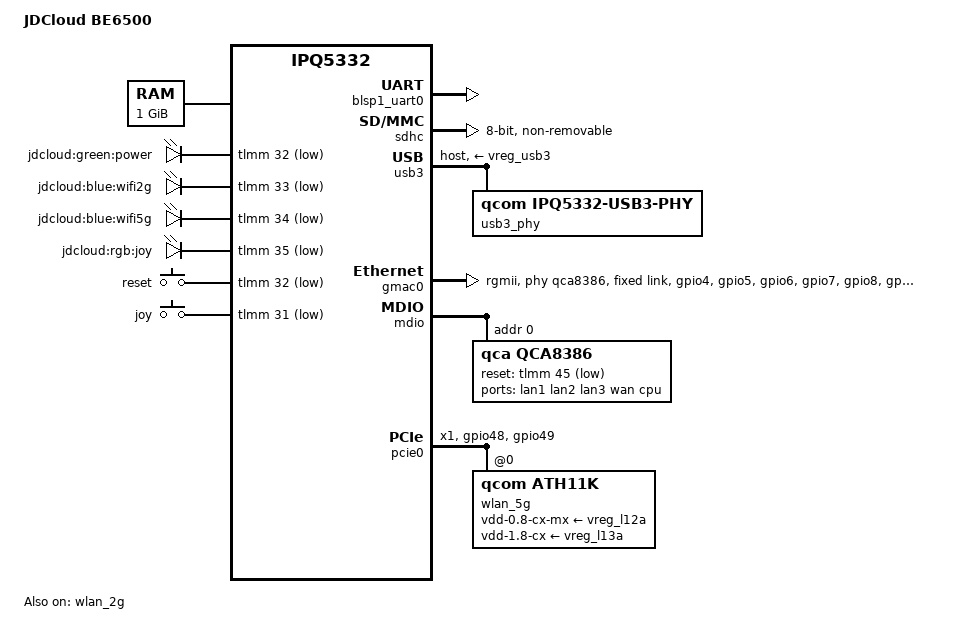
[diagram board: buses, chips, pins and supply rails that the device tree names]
// SPDX-License-Identifier: GPL-2.0-or-later
/*
 * JDCloud BE6500 router device tree (IPQ5332)
 * Hardware: 1GB DDR4 / 128GB eMMC / QCA8386 switch / QCN6224 wireless
 */

/dts-v1/;
#include <dt-bindings/gpio/gpio.h>
#include <dt-bindings/input/input.h>
#include <dt-bindings/clock/qcom,ipq5332-gcc.h>
#include "ipq5332.dtsi"

/ {
    model = "JDCloud BE6500";
    compatible = "jdcloud,be6500", "qcom,ipq5332";

    /* Power regulator (stable power for wireless/peripherals) */
    vreg_l12a: regulator-l12a {
        compatible = "qcom,pm8005-regulator";
        regulator-name = "vdd-0.8-cx-mx";
        regulator-min-microvolt = <800000>;
        regulator-max-microvolt = <800000>;
        regulator-always-on;
        regulator-boot-on;
    };

    vreg_l13a: regulator-l13a {
        compatible = "qcom,pm8005-regulator";
        regulator-name = "vdd-1.8-cx";
        regulator-min-microvolt = <1800000>;
        regulator-max-microvolt = <1800000>;
        regulator-always-on;
        regulator-boot-on;
    };

    vreg_usb3: regulator-usb3 {
        compatible = "qcom,pm8005-regulator";
        regulator-name = "vdd-usb3-3.3v";
        regulator-min-microvolt = <3300000>;
        regulator-max-microvolt = <3300000>;
        regulator-boot-on;
    };

    /* 1GB DDR4 memory (SK Hynix H5AN8G6NDJRXNC) */
    memory@40000000 {
        device_type = "memory";
        reg = <0x0 0x40000000 0x0 0x40000000>; // Start address 0x40000000, size 1GB
    };

    /* Boot parameters (required for kernel boot) */
    chosen {
        bootargs = "console=ttyMSM0,115200n8 earlycon=msm_serial_dm,0x078af000 rootfstype=squashfs,jffs2 rootwait";
    };

    /* Device aliases (simplify system references) */
    aliases {
        led-boot = &led_power;
        led-failsafe = &led_power;
        led-running = &led_power;
        led-upgrade = &led_power;
        serial0 = &blsp1_uart0;
        ethernet0 = &gmac0;
        wifi0 = &wlan_2g;  // 2.4G wireless
        wifi1 = &wlan_5g;  // 5G wireless
    };

    /* LED configuration (matching physical LED positions) */
    leds {
        compatible = "gpio-leds";

        // Power LED (green, always on)
        led_power: power {
            label = "jdcloud:green:power";
            gpios = <&tlmm 32 GPIO_ACTIVE_LOW>; // Need to verify actual GPIO
            default-state = "on";
            retain-state-suspended;
        };

        // 2.4G wireless LED (blue, associated with wireless status)
        led_wifi_2g: wifi-2g {
            label = "jdcloud:blue:wifi2g";
            gpios = <&tlmm 33 GPIO_ACTIVE_LOW>;
            default-state = "off";
            linux,default-trigger = "phy0tpt";
        };

        // 5G wireless LED (blue, associated with wireless status)
        led_wifi_5g: wifi5g {
            label = "jdcloud:blue:wifi5g";
            gpios = <&tlmm 34 GPIO_ACTIVE_LOW>;
            default-state = "off";
            linux,default-trigger = "phy1tpt";
        };


        led_joy: joy {
            label = "jdcloud:rgb:joy";
            gpios = <&tlmm 35 GPIO_ACTIVE_LOW>;
            default-state = "off";
            retain-state-suspended;
        };
    };

    /* Button configuration (reset, WPS) */
    keys {
        compatible = "gpio-keys";

        // Reset button (long press to restore factory settings)
        reset {
            label = "reset";
            gpios = <&tlmm 32 GPIO_ACTIVE_LOW>; // Need to verify actual GPIO
            linux,code = <KEY_RESTART>;
            debounce-interval = <200>; // Debounce time 200ms
        };

        // Joy button (control LED/mesh networking)
        joy {
            label = "joy";
            gpios = <&tlmm 31 GPIO_ACTIVE_LOW>;
            linux,code = <KEY_FN>; // Map to function key
            debounce-interval = <200>;
        };
    };
};

/* Debug serial port (UART0, GPIO18/19) */
&blsp1_uart0 {
    pinctrl-0 = <&serial_0_pins>;
    pinctrl-names = "default";
    status = "okay";
};

/* 128GB eMMC (Longsys E128CSDA2ABE00) */
&sdhc {
    compatible = "qcom,ipq5332-sdhci", "qcom,sdhci-msm-v5";
    reg = <0x07804000 0x1000>, <0x07805000 0x1000>;
    interrupts = <GIC_SPI 313 IRQ_TYPE_LEVEL_HIGH>,
                 <GIC_SPI 316 IRQ_TYPE_LEVEL_HIGH>;
    clocks = <&gcc GCC_SDCC1_AHB_CLK>,
             <&gcc GCC_SDCC1_APPS_CLK>,
             <&xo_board>;
    clock-names = "iface", "core", "xo";
    bus-width = <8>; // 8-bit data bus
    non-removable; // Onboard, non-removable
    no-1-8-v; // Operating voltage 3.3V (not 1.8V)
    cap-mmc-highspeed; // Enable high-speed mode
    max-frequency = <200000000>; // Maximum 200MHz
    status = "okay";

    /* eMMC partition table (strictly match U-Boot) */
    partitions {
        compatible = "fixed-partitions";
        #address-cells = <2>;
        #size-cells = <2>;

        partition@0 {
            label = "boot";
            reg = <0x0 0x0 0x0 0x800000>; // 8MB (boot partition)
        };
        partition@800000 {
            label = "kernel";
            reg = <0x0 0x800000 0x0 0x1000000>; // 16MB (kernel partition)
        };
        partition@1800000 {
            label = "rootfs";
            reg = <0x0 0x1800000 0x0 0x7E800000>; // ~2GB (root filesystem)
        };
        partition@80000000 {
            label = "data";
            reg = <0x0 0x80000000 0x0 0x78000000>; // Remaining space (~1.9GB user data)
        };
    };
};

/* USB 3.0 interface */
&usb3 {
    compatible = "qcom,dwc3";
    reg = <0x08800000 0x10000>;
    interrupts = <GIC_SPI 37 0>;
    clocks = <&gcc GCC_USB30_MASTER_CLK>,
             <&gcc GCC_USB30_SLEEP_CLK>;
    clock-names = "core", "sleep";
    dr_mode = "host"; // Host mode
    vbus-supply = <&vreg_usb3>; // 3.3V power supply
    status = "okay";

    /* USB 3.0 PHY configuration */
    usb3_phy: phy {
        compatible = "qcom,ipq5332-usb3-phy";
        #phy-cells = <0>;
        clocks = <&gcc GCC_USB30_MASTER_CLK>,
                 <&xo_board>;
        clock-names = "ref", "xo";
        status = "okay";
    };
};

/* Ethernet controller (connect to QCA8386 switch chip) */
&gmac0 {
    status = "okay";
    pinctrl-0 = <&gmac0_pins>;
    pinctrl-names = "default";
    phy-mode = "rgmii"; // Interface mode with switch chip
    phy-handle = <&qca8386>; // Associated switch chip

    /* 2.5G connection with switch chip */
    fixed-link {
        speed = <2500>; // 2.5Gbps speed
        full-duplex;
        pause; // Support flow control
    };
};

/* MDIO bus (manage QCA8386 switch chip) */
&mdio {
    #address-cells = <1>;
    #size-cells = <0>;
    status = "okay";

    /* QCA8386 2.5G switch chip (1WAN+3LAN) */
    qca8386: switch@0 {
        compatible = "qca,qca8386";
        reg = <0x0>; // MDIO address 0
        reset-gpios = <&tlmm 45 GPIO_ACTIVE_LOW>; // Reset pin (need to verify)
        reset-assert-us = <10000>; // Reset assert time 10ms
        reset-deassert-us = <10000>; // Reset deassert time 10ms

        ports {
            #address-cells = <1>;
            #size-cells = <0>;

            // LAN port 1 (physical port 2)
            port@0 {
                reg = <0>;
                label = "lan1";
                phy-mode = "rgmii";
            };

            // LAN port 2 (physical port 3)
            port@1 {
                reg = <1>;
                label = "lan2";
                phy-mode = "rgmii";
            };

            // LAN port 3 (physical port 4)
            port@2 {
                reg = <2>;
                label = "lan3";
                phy-mode = "rgmii";
            };

            // WAN port (physical port 1)
            port@5 {
                reg = <5>;
                label = "wan";
                phy-mode = "rgmii";
                // VLAN isolation configuration (match firmware network config)
                vlan-mode = "secure";
                vlan = <1 0x2>; // Belong to VLAN 1, marked as WAN
            };

            // CPU port (connect to IPQ5332 gmac0)
            port@6 {
                reg = <6>;
                label = "cpu";
                phy-mode = "rgmii";
                fixed-link {
                    speed = <2500>;
                    full-duplex;
                    pause;
                };
            };
        };
    };
};

/* 2.4G wireless (IPQ5332 built-in, Wi-Fi 7) */
&wlan_2g {
    compatible = "qcom,ath11k";
    status = "okay";
    qcom,chip-id = <0x0>; // Built-in 2.4G chip ID
    qcom,board-id = <0x200>; // Calibration ID (need to match actual calibration data)
    vdd-0.8-cx-mx-supply = <&vreg_l12a>; // 0.8V power supply
    vdd-1.8-cx-supply = <&vreg_l13a>; // 1.8V power supply
    pinctrl-0 = <&wlan2g_pins>;
    pinctrl-names = "default";
};

/* 5G wireless (QCN6224, PCIe interface) */
&pcie0 {
    compatible = "qcom,ipq5332-pcie";
    reg = <0x10000000 0x1000000>;
    interrupts = <GIC_SPI 43 IRQ_TYPE_LEVEL_HIGH>;
    clocks = <&gcc GCC_PCIE0_CLK>,
             <&gcc GCC_PCIE0_AHB_CLK>;
    clock-names = "core", "iface";
    num-lanes = <1>; // 1 PCIe lane
    status = "okay";
    pinctrl-0 = <&pcie0_pins>;
    pinctrl-names = "default";

    wlan_5g: wifi@0,0 {
        compatible = "qcom,ath11k";
        reg = <0 0 0 0 0>; // PCIe address mapping address mapping
        qcom,chip-id = <0x6224>; // QCN6224 chip ID
        qcom,board-id = <0x1000>; // Calibration ID
        qcom,160mhz-support = <1>;
        qcom,mlo-support = <1>;
        vdd-0.8-cx-mx-supply = <&vreg_l12a>;
        vdd-1.8-cx-supply = <&vreg_l13a>;
        status = "okay";
    };
};

/* Pin multiplex controller (TLMM) */
&tlmm {
    /* GMAC0 RGMII pins (connect to QCA8386) */
    gmac0_pins: gmac0-state {
        mux {
            pins = "gpio4",  // RGMII_MDC
                   "gpio5",  // RGMII_MDIO
                   "gpio6",  // RGMII_TXD0
                   "gpio7",  // RGMII_TXD1
                   "gpio8",  // RGMII_TXD2
                   "gpio9",  // RGMII_TXD3
                   "gpio10", // RGMII_TX_CTRL
                   "gpio11", // RGMII_TX_CLK
                   "gpio12", // RGMII_RXD0
                   "gpio13", // RGMII_RXD1
                   "gpio14", // RGMII_RXD2
                   "gpio15", // RGMII_RXD3
                   "gpio16", // RGMII_RX_CTRL
                   "gpio17"; // RGMII_RX_CLK
            function = "rgmii";
            drive-strength = <16>; // 16mA drive strength
            bias-disable; // no pull-up/pull-down
        };
    };

    /* PCIe0 pins (connect to QCN6224) */
    pcie0_pins: pcie0-state {
        mux {
            pins = "gpio48",  // PCIe_RST_N (reset)
                   "gpio49";  // PCIe_CLKREQ (clock request)
            function = "pcie";
            drive-strength = <8>;
            bias-pull-up; // Reset pin default pull-up (active)
        };
    };

    /* 2.4G wireless control pins */
    wlan2g_pins: wlan2g-state {
        mux {
            pins = "gpio50",  // WLAN_2G_RST (reset)
               "gpio51";
            function = "wlan";
            drive-strength = <8>;
            bias-pull-up;
        };
    };
};

/* CPU frequency configuration (matching 1.5GHz hardware specifications) */
&cpu_opp_table {
    opp-1500000000 {
        opp-hz = /bits/ 64 <1500000000>;
        clock-latency-ns = <200000>;
    };
};
